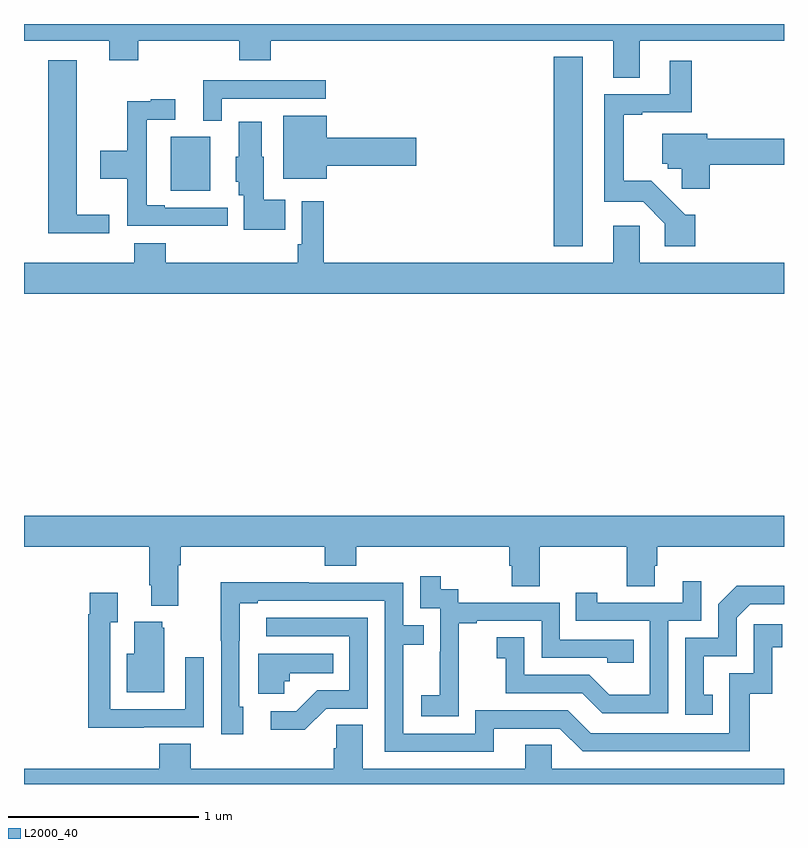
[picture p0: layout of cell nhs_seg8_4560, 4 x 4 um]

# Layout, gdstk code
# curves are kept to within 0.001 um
import gdstk
lib = gdstk.Library(unit=1e-6, precision=1e-09)
def R(c, l, rs):  # rectangles x0, y0, x1, y1
    for r in rs: c.add(gdstk.rectangle(r[:2], r[2:], *l))
def P(c, l, *ps):  # polygons
    for p in ps: c.add(gdstk.Polygon(p, *l))
L2000_40 = (2000, 40)

nhs_seg8_4560 = lib.new_cell('nhs_seg8_4560')
R(nhs_seg8_4560, L2000_40, [(389.789,1136.729,389.941,1137.727), (387.773,1137.023,387.979,1137.307)])
P(nhs_seg8_4560, L2000_40, [(390.241,1137.812),(391,1137.812),(391,1137.9),(387,1137.9),(387,1137.812),(387.449,1137.812),(387.449,1137.71),(387.602,1137.71),(387.602,1137.812),(388.133,1137.812),(388.133,1137.71),(388.298,1137.71),(388.298,1137.812),(390.101,1137.812),(390.101,1137.618),(390.241,1137.618)],
  [(387.448,1136.897),(387.277,1136.897),(387.277,1137.709),(387.128,1137.709),(387.128,1136.798),(387.448,1136.798)],
  [(390.533,1136.896),(390.479,1136.896),(390.301,1137.074),(390.157,1137.074),(390.157,1137.423),(390.253,1137.423),(390.253,1137.435),(390.515,1137.435),(390.515,1137.706),(390.398,1137.706),(390.398,1137.531),(390.053,1137.531),(390.053,1136.964),(390.258,1136.964),(390.372,1136.85),(390.372,1136.73),(390.533,1136.73)],
  [(388.041,1137.507),(388.588,1137.507),(388.588,1137.603),(387.944,1137.603),(387.944,1137.392),(388.041,1137.392)],
  [(388.072,1136.934),(387.742,1136.934),(387.742,1136.947),(387.645,1136.947),(387.645,1137.396),(387.796,1137.396),(387.796,1137.505),(387.668,1137.505),(387.668,1137.494),(387.544,1137.494),(387.544,1137.234),(387.402,1137.234),(387.402,1137.086),(387.544,1137.086),(387.544,1136.838),(387.829,1136.838),(387.829,1136.837),(388.072,1136.837)],
  [(388.594,1137.155),(389.065,1137.155),(389.065,1137.302),(388.594,1137.302),(388.594,1137.418),(388.364,1137.418),(388.364,1137.086),(388.594,1137.086)],
  [(388.376,1136.974),(388.261,1136.974),(388.261,1137.201),(388.252,1137.201),(388.252,1137.385),(388.13,1137.385),(388.13,1137.201),(388.115,1137.201),(388.115,1137.069),(388.13,1137.069),(388.13,1137),(388.157,1137),(388.157,1136.816),(388.376,1136.816)],
  [(390.608,1137.16),(391,1137.16),(391,1137.296),(390.595,1137.296),(390.595,1137.322),(390.359,1137.322),(390.359,1137.165),(390.387,1137.165),(390.387,1137.138),(390.463,1137.138),(390.463,1137.033),(390.608,1137.033)],
  [(391,1136.644),(390.24,1136.644),(390.24,1136.839),(390.101,1136.839),(390.101,1136.644),(388.577,1136.644),(388.577,1136.968),(388.461,1136.968),(388.461,1136.74),(388.441,1136.74),(388.441,1136.644),(387.746,1136.644),(387.746,1136.746),(387.581,1136.746),(387.581,1136.644),(387,1136.644),(387,1136.48),(391,1136.48)],
  [(387.811,1135.052),(387.824,1135.052),(387.824,1135.148),(388.583,1135.148),(388.583,1135.049),(388.748,1135.049),(388.748,1135.148),(389.555,1135.148),(389.555,1135.05),(389.567,1135.05),(389.567,1134.94),(389.715,1134.94),(389.715,1135.148),(390.172,1135.148),(390.172,1134.94),(390.319,1134.94),(390.319,1135.05),(390.332,1135.05),(390.332,1135.148),(391,1135.148),(391,1135.312),(387,1135.312),(387,1135.148),(387.659,1135.148),(387.659,1134.946),(387.671,1134.946),(387.671,1134.839),(387.811,1134.839)],
  [(389.289,1134.463),(389.288,1134.463),(389.288,1134.747),(389.383,1134.747),(389.383,1134.759),(389.724,1134.759),(389.724,1134.564),(390.069,1134.564),(390.069,1134.537),(390.209,1134.537),(390.209,1134.66),(389.82,1134.66),(389.82,1134.855),(389.286,1134.855),(389.286,1134.924),(389.194,1134.924),(389.194,1134.994),(389.085,1134.994),(389.085,1134.825),(389.19,1134.825),(389.19,1134.596),(389.189,1134.596),(389.189,1134.367),(389.091,1134.367),(389.091,1134.257),(389.289,1134.257)],
  [(390.39,1134.759),(390.564,1134.759),(390.564,1134.967),(390.467,1134.967),(390.467,1134.855),(390.016,1134.855),(390.016,1134.907),(389.905,1134.907),(389.905,1134.759),(390.294,1134.759),(390.294,1134.37),(390.08,1134.37),(389.976,1134.474),(389.634,1134.474),(389.634,1134.673),(389.487,1134.673),(389.487,1134.563),(389.536,1134.563),(389.536,1134.378),(389.939,1134.378),(390.044,1134.273),(390.39,1134.273)],
  [(389.473,1134.192),(389.82,1134.192),(389.94,1134.072),(390.82,1134.072),(390.82,1134.375),(390.938,1134.375),(390.938,1134.621),(390.991,1134.621),(390.991,1134.742),(390.84,1134.742),(390.84,1134.483),(390.711,1134.483),(390.711,1134.168),(389.982,1134.168),(389.862,1134.288),(389.376,1134.288),(389.376,1134.165),(388.995,1134.165),(388.995,1134.634),(389.105,1134.634),(389.105,1134.735),(388.995,1134.735),(388.995,1134.96),(388.499,1134.96),(388.499,1134.962),(388.036,1134.962),(388.036,1134.655),(388.038,1134.655),(388.038,1134.162),(388.153,1134.162),(388.153,1134.306),(388.134,1134.306),(388.135,1134.852),(388.231,1134.852),(388.231,1134.864),(388.899,1134.864),(388.899,1134.069),(389.473,1134.069)],
  [(390.626,1134.369),(390.577,1134.369),(390.577,1134.573),(390.75,1134.573),(390.75,1134.774),(390.822,1134.846),(391,1134.846),(391,1134.944),(390.752,1134.944),(390.654,1134.846),(390.654,1134.669),(390.48,1134.669),(390.48,1134.264),(390.626,1134.264)],
  [(387.629,1134.198),(387.945,1134.198),(387.945,1134.568),(387.849,1134.568),(387.849,1134.294),(387.453,1134.294),(387.453,1134.751),(387.493,1134.751),(387.493,1134.907),(387.345,1134.907),(387.345,1134.794),(387.337,1134.794),(387.337,1134.197),(387.629,1134.197)],
  [(388.59,1134.297),(388.809,1134.297),(388.809,1134.774),(388.275,1134.774),(388.275,1134.678),(388.713,1134.678),(388.713,1134.393),(388.544,1134.393),(388.433,1134.282),(388.299,1134.282),(388.299,1134.185),(388.477,1134.185)],
  [(387.739,1134.723),(387.728,1134.723),(387.728,1134.754),(387.581,1134.754),(387.581,1134.586),(387.542,1134.586),(387.542,1134.383),(387.739,1134.383)],
  [(388.371,1134.441),(388.398,1134.441),(388.398,1134.482),(388.628,1134.482),(388.628,1134.586),(388.232,1134.586),(388.232,1134.374),(388.371,1134.374)],
  [(391,1133.98),(389.778,1133.98),(389.778,1134.107),(389.639,1134.107),(389.639,1133.98),(388.783,1133.98),(388.783,1134.212),(388.644,1134.212),(388.644,1134.089),(388.631,1134.089),(388.631,1133.98),(387.878,1133.98),(387.878,1134.113),(387.713,1134.113),(387.713,1133.98),(387,1133.98),(387,1133.9),(391,1133.9)])

lib.write_gds('nhs_seg8_4560.gds')
